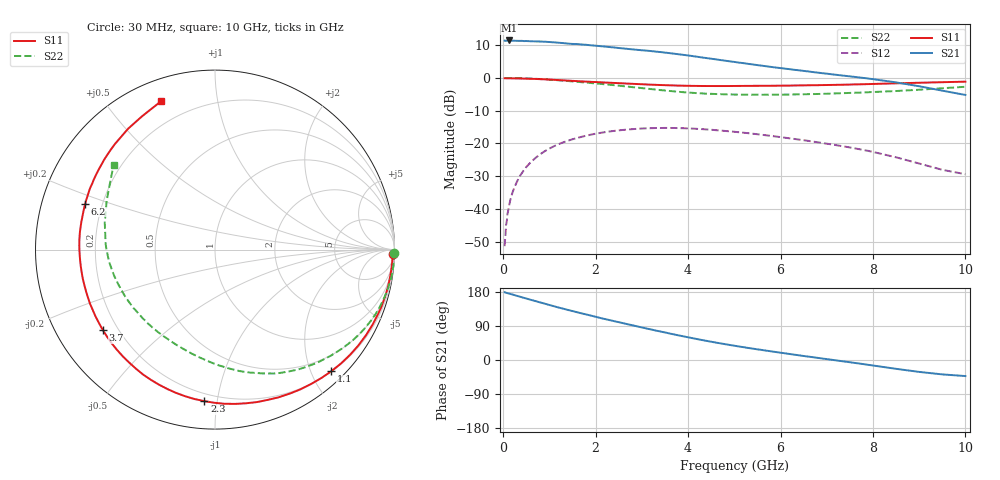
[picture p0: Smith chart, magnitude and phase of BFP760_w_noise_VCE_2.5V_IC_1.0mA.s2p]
! Infineon Technologies  Discrete & RF Semiconductors
! BFP760
! VCE =  2.5 V,  IC =  1.0 mA
! Common Emitter S-Parameters:  Nov 2012
# GHz  S  MA  R  50
!  f  S11  S21  S12  S22
! GHz  MAG  ANG  MAG  ANG  MAG  ANG  MAG  ANG
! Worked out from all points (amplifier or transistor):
!   99 points, 30 MHz to 10 GHz, reference 50 ohm
!   highest |S21| = 11.5 dB at 120 MHz (marker M1)
!   |S21| within 3 dB of that: start of sweep to 3.005 GHz
!   unconditionally stable (mu >= 1): 7.637 GHz to end of sweep
!   at 350 MHz: K = 0.04, MSG = 20.8 dB, |S12| = -30.2 dB
!   at 3.5 GHz: K = 0.28, MSG = 11.5 dB, |S12| = -15.2 dB
!   at 10 GHz: K = 2.20, MAG = 5.9 dB, |S12| = -29.4 dB
!   lowest NFmin = 0.56 dB at 900 MHz
!   S11 on the Smith chart (normalised r, x): 30 MHz: 27, -71; 1.1 GHz: 0.21, -2.32; 2.3 GHz: 0.15, -0.92; 3.7 GHz: 0.14, -0.32; 6.2 GHz: 0.14, +0.17; 10 GHz: 0.10, +0.69
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0.03  0.9907 -1.4  3.712 178.9  0.0027 80.6  1 -1.0
0.06  0.9903 -2.6  3.701 177.6  0.0056 86.8  0.9991 -1.7
0.12  0.9888 -5.1  3.745 175.5  0.0104 86.8  0.9994 -3.3
0.25  0.9863 -10.5  3.702 171.0  0.022 82.5  0.9957 -6.9
0.45  0.9802 -19.0  3.662 163.9  0.0394 76.3  0.9887 -12.3
0.8  0.9608 -33.8  3.608 151.9  0.0684 65.5  0.964 -21.9
1.1  0.9377 -46.3  3.503 141.8  0.0909 56.3  0.9337 -30.0
1.3  0.9204 -54.5  3.411 135.3  0.1042 50.4  0.9104 -35.1
1.7  0.8874 -70.6  3.248 122.9  0.1266 39.6  0.8619 -45.0
2  0.8672 -82.4  3.117 114.1  0.141 31.8  0.826 -52.5
2.3  0.8464 -94.0  2.971 105.3  0.1525 23.9  0.7885 -59.8
2.8  0.8148 -112.5  2.737 91.5  0.1655 12.0  0.7246 -71.5
3.4  0.7812 -134.3  2.491 75.2  0.1722 -1.9  0.6538 -86.0
3.7  0.7693 -144.3  2.349 67.4  0.1724 -8.4  0.6242 -93.2
4.3  0.755 -162.4  2.06 52.7  0.1657 -20.5  0.5812 -107.5
5.1  0.7564 178.4  1.719 35.7  0.1485 -34.1  0.5586 -124.5
6.2  0.7665 160.5  1.363 15.8  0.1197 -48.4  0.5592 -146.3
6.7  0.7759 153.4  1.232 7.4  0.1069 -53.5  0.5682 -156.4
7.6  0.7975 139.6  1.04 -7.7  0.0844 -61.2  0.5953 -174.7
8.5  0.8295 125.7  0.857 -23.3  0.0615 -65.8  0.6322 166.3
9  0.8461 118.9  0.748 -31.4  0.0494 -64.4  0.6619 155.8
10  0.8791 110.1  0.551 -42.4  0.0339 -46.8  0.7348 140.3
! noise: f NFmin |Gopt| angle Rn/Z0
0.9  0.56  0.74  29  0.39
1.8  0.75  0.67  58  0.32
2.4  0.89  0.62  78  0.27
3.5  1.15  0.59  110  0.18
5.5  1.87  0.54  -168  0.1
8  3.1  0.66  -111  0.7
